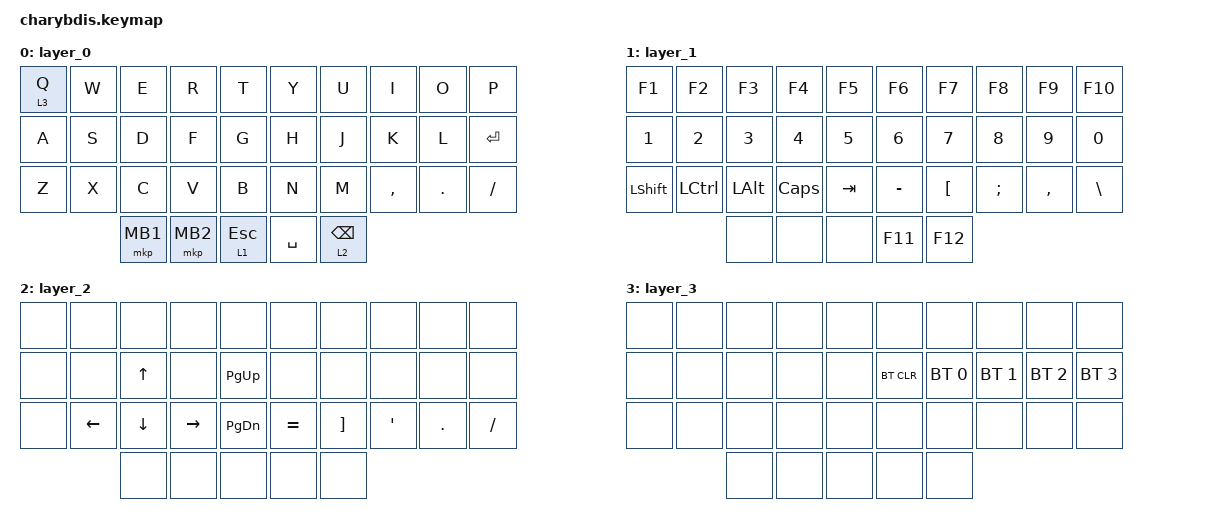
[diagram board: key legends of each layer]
#include <behaviors.dtsi>
#include <dt-bindings/zmk/bt.h>
#include <dt-bindings/zmk/keys.h>
#include <dt-bindings/zmk/pointing.h>
#include <dt-bindings/zmk/rgb.h>

&lt {
    tapping-term-ms = <200>;
    flavor = "balanced";
    quick-tap-ms = <150>;
};

/ {
    macros {
        To1_macro: To1_macro {
            compatible = "zmk,behavior-macro";
            label = "To1_macro";
            #binding-cells = <0>;
            bindings = <&rgb_ug RGB_EFF &rgb_ug RGB_COLOR_HSB(128,100,50) &to 1>;
        };

        To0_macro: To0_macro {
            compatible = "zmk,behavior-macro";
            label = "To0_macro";
            #binding-cells = <0>;
            bindings = <&rgb_ug RGB_EFR &to 0>;
        };

        To2_macro: To2_macro {
            compatible = "zmk,behavior-macro";
            label = "To2_macro";
            #binding-cells = <0>;
            bindings =
                <&to 0>,
                <&macro_wait_time 30>,
                <&rgb_ug RGB_COLOR_HSB(250,100,50)>;
        };
    
/* input config for snipe mode */

    trackball_snipe_listener {
        compatible = "zmk,input-behavior-listener";
        device = <&vtrackball>;
        layers = <10>;
        evt-type = <INPUT_EV_REL>;
        x-input-code = <INPUT_REL_X>;
        y-input-code = <INPUT_REL_Y>;
        scale-multiplier = <1>;
        scale-divisor = <4>;
    };

    /* input config for mouse scroll mode */

    trackball_scroll_listener {
        compatible = "zmk,input-behavior-listener";
        device = <&vtrackball>;
        layers = <9>;
        evt-type = <INPUT_EV_REL>;
        x-input-code = <INPUT_REL_MISC>;
        y-input-code = <INPUT_REL_WHEEL>;
        y-invert;
        bindings = <&ib_wheel_scaler 1 14>;
    };
};

    keymap {
        compatible = "zmk,keymap";

        layer_0 {
            bindings = <
&lt 3 Q  &kp W  &kp E     &kp R     &kp T        &kp Y      &kp U            &kp I      &kp O    &kp P
&kp A    &kp S  &kp D     &kp F     &kp G        &kp H      &kp J            &kp K      &kp L    &kp ENTER
&kp Z    &kp X  &kp C     &kp V     &kp B        &kp N      &kp M            &kp COMMA  &kp DOT  &kp FSLH
                &mkp MB1  &mkp MB2  &lt 1 ESC    &kp SPACE  &lt 2 BACKSPACE
            >;
        };

        layer_1 {
            bindings = <
&kp F1          &kp F2     &kp F3        &kp F4    &kp F5     &kp F6     &kp F7            &kp F8         &kp F9     &kp F10
&kp N1          &kp N2     &kp N3        &kp N4    &kp N5     &kp N6     &kp N7            &kp N8         &kp N9     &kp N0
&kp LEFT_SHIFT  &kp LCTRL  &kp LEFT_ALT  &kp CAPS  &kp TAB    &kp MINUS  &kp LEFT_BRACKET  &kp SEMICOLON  &kp COMMA  &kp BACKSLASH
                           &none         &none     &none      &kp F11    &kp F12
            >;
        };

        layer_2 {
            bindings = <
&none  &none           &none           &none            &none            &none      &none     &none    &none       &none
&none  &none           &kp UP_ARROW    &none            &kp PAGE_UP      &none      &none     &none    &none       &none
&none  &kp LEFT_ARROW  &kp DOWN_ARROW  &kp RIGHT_ARROW  &kp PAGE_DOWN    &kp EQUAL  &kp RBKT  &kp SQT  &kp PERIOD  &kp SLASH
                       &none           &none            &none            &none      &none
            >;
        };

        layer_3 {
            bindings = <
&none  &none  &none  &none  &none    &none       &none         &none         &none         &none
&none  &none  &none  &none  &none    &bt BT_CLR  &bt BT_SEL 0  &bt BT_SEL 1  &bt BT_SEL 2  &bt BT_SEL 3
&none  &none  &none  &none  &none    &none       &none         &none         &none         &none
              &none  &none  &none    &none       &none
            >;
        };

        /* layer_2 {
            bindings = <
&none  &none   &none    &none   &none         &none         &kp N1         &none         &none     &none  &none   &to 0
&none  &none   &none    &none   &none         &none         &none         &none          &rgb_ug RGB_BRD &rgb_ug RGB_BRI  &rgb_ug RGB_EFF   &rgb_ug RGB_TOG
&none  &none   &none    &none   &none         &none         &none         &mkp LCLK     &mkp RCLK  &none  &none   &none
&none  &none   &none    &none   &bt BT_NXT  &bt BT_CLR    &none         &none         &none     &none  &none   &none
                                   &none         &none         &none         &none         &none
                                                 &none         &none         &none
            >;
       
            
        };

       Mouse {
            bindings = <
&none        &none         &none         &none         &none      &none         &none       &none      &none         &none         &none         &none
&none        &bt BT_SEL 0  &bt BT_SEL 1  &bt BT_SEL 3  &none      &bt BT_CLR    &bt BT_CLR  &none      &bt BT_SEL 2  &bt BT_SEL 1  &bt BT_SEL 0  &none
&none        &trans        &trans        &mkp MCLK     &trans     &none         &none       &trans     &mkp MCLK     &trans        &trans        &none
&bootloader  &trans        &mkp RCLK     &mo 4         &mkp LCLK  &mo 5         &mo 5       &mkp LCLK  &mo 4         &mkp RCLK     &trans        &bootloader
                                         &mo 5         &mkp LCLK  &mkp RCLK     &mkp RCLK   &mkp LCLK
                                                       &none      &trans        &trans
            >;

            
        };

        layer_4 {
            bindings = <
&trans  &trans  &trans     &trans     &trans     &trans       &trans     &trans     &trans     &trans     &trans  &trans
&trans  &trans  &trans     &trans     &trans     &trans       &trans     &trans     &trans     &trans     &trans  &trans
&trans  &trans  &trans     &mkp MCLK  &trans     &trans       &trans     &trans     &mkp MCLK  &trans     &trans  &trans
&trans  &trans  &mkp RCLK  &trans     &mkp LCLK  &trans       &trans     &mkp LCLK  &trans     &mkp RCLK  &trans  &trans
                           &trans     &mkp LCLK  &mkp RCLK    &mkp RCLK  &mkp LCLK
                                      &trans     &trans       &trans
            >;
                
                
               
        };

        layer_5 {
            bindings = <
&trans  &trans  &trans     &trans     &trans     &trans       &trans     &trans     &trans     &trans     &trans  &trans
&trans  &trans  &trans     &trans     &trans     &trans       &trans     &trans     &trans     &trans     &trans  &trans
&trans  &trans  &trans     &mkp MCLK  &trans     &trans       &trans     &trans     &mkp MCLK  &trans     &trans  &trans
&trans  &trans  &mkp RCLK  &trans     &mkp LCLK  &trans       &trans     &mkp LCLK  &trans     &mkp RCLK  &trans  &trans
                           &trans     &mkp LCLK  &mkp RCLK    &mkp RCLK  &mkp LCLK
                                      &trans     &trans       &trans
            >;
                
                
        };*/
    };
};
